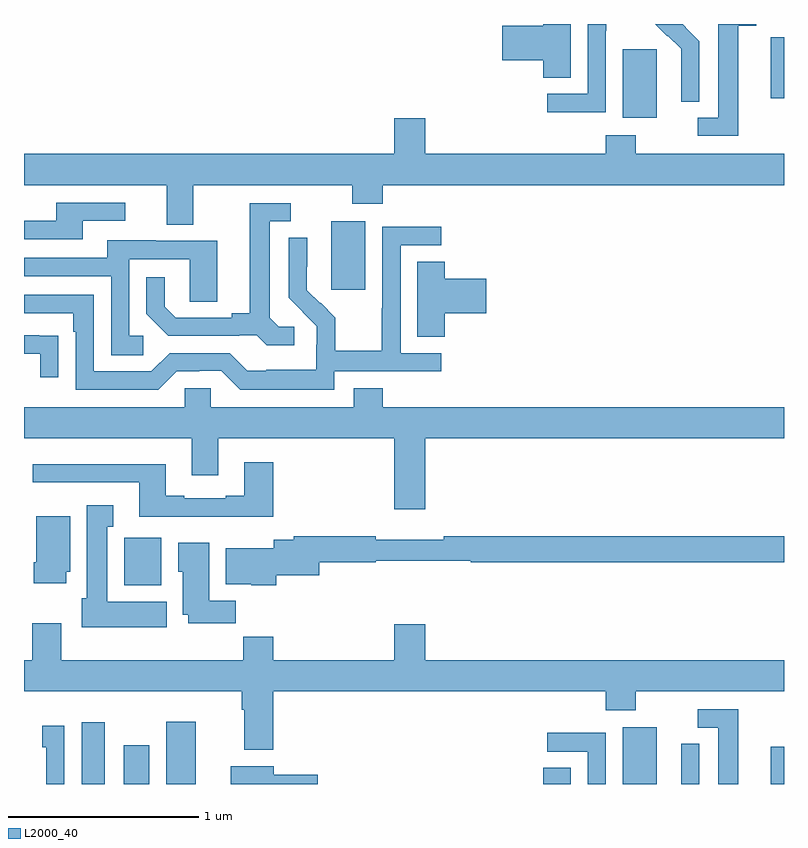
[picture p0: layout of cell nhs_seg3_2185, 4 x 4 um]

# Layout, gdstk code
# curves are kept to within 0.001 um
import gdstk
lib = gdstk.Library(unit=1e-6, precision=1e-09)
def R(c, l, rs):  # rectangles x0, y0, x1, y1
    for r in rs: c.add(gdstk.rectangle(r[:2], r[2:], *l))
def P(c, l, *ps):  # polygons
    for p in ps: c.add(gdstk.Polygon(p, *l))
L2000_40 = (2000, 40)

nhs_seg3_2185 = lib.new_cell('nhs_seg3_2185')
R(nhs_seg3_2185, L2000_40, [(223.304,728.4,223.426,728.725), (223.526,728.4,223.66,728.605), (223.748,728.4,223.903,728.728), (225.734,728.4,225.877,728.486), (226.151,728.4,226.33,728.698), (226.931,728.4,227,728.595), (223.527,729.446,223.723,729.696), (224.618,731.001,224.797,731.362), (226.151,731.906,226.33,732.267), (226.931,732.009,227,732.329)])
P(nhs_seg3_2185, L2000_40, [(226.759,732.392),(226.855,732.392),(226.855,732.4),(226.655,732.4),(226.655,731.907),(226.545,731.907),(226.545,731.811),(226.759,731.811)],
  [(225.877,732.4),(225.734,732.4),(225.734,732.392),(225.516,732.392),(225.516,732.209),(225.734,732.209),(225.734,732.118),(225.877,732.118)],
  [(226.554,732.31),(226.481,732.383),(226.482,732.384),(226.466,732.4),(226.322,732.4),(226.386,732.336),(226.389,732.339),(226.46,732.269),(226.46,732.146),(226.458,732.146),(226.458,731.992),(226.554,731.992)],
  [(226.062,732.364),(226.065,732.364),(226.065,732.4),(225.966,732.4),(225.966,732.033),(225.753,732.033),(225.753,731.935),(226.062,731.935)],
  [(223.891,731.552),(224.728,731.552),(224.728,731.453),(224.888,731.453),(224.888,731.552),(227,731.552),(227,731.716),(226.221,731.716),(226.221,731.815),(226.061,731.815),(226.061,731.716),(225.112,731.716),(225.112,731.905),(224.948,731.905),(224.948,731.716),(223,731.716),(223,731.552),(223.751,731.552),(223.751,731.344),(223.891,731.344)],
  [(223.309,731.364),(223.534,731.364),(223.534,731.46),(223.169,731.46),(223.169,731.364),(223,731.364),(223,731.268),(223.309,731.268)],
  [(224.422,730.806),(224.34,730.806),(224.293,730.853),(224.293,731.361),(224.404,731.361),(224.404,731.457),(224.189,731.457),(224.189,730.877),(224.093,730.877),(224.093,730.854),(223.798,730.854),(223.741,730.911),(223.741,731.068),(223.644,731.068),(223.644,730.874),(223.76,730.758),(224.132,730.758),(224.132,730.761),(224.226,730.761),(224.278,730.709),(224.422,730.709)],
  [(224.634,730.572),(225.196,730.572),(225.196,730.668),(224.982,730.668),(224.982,731.235),(225.196,731.235),(225.196,731.334),(224.886,731.334),(224.886,730.904),(224.884,730.904),(224.884,730.681),(224.639,730.681),(224.639,730.855),(224.562,730.932),(224.559,730.929),(224.489,731),(224.49,731.276),(224.394,731.276),(224.394,730.958),(224.54,730.81),(224.54,730.713),(224.538,730.713),(224.538,730.579),(224.275,730.579),(224.275,730.575),(224.175,730.575),(224.082,730.668),(223.767,730.668),(223.671,730.572),(223.368,730.572),(223.368,730.974),(223,730.974),(223,730.878),(223.259,730.878),(223.259,730.781),(223.272,730.781),(223.272,730.476),(223.707,730.476),(223.803,730.572),(223.922,730.572),(223.922,730.575),(224.037,730.575),(224.137,730.475),(224.634,730.475)],
  [(223.627,730.758),(223.554,730.758),(223.554,731.163),(223.872,731.163),(223.872,730.939),(224.017,730.939),(224.017,731.259),(223.693,731.259),(223.693,731.263),(223.439,731.263),(223.439,731.169),(223,731.169),(223,731.073),(223.458,731.073),(223.458,730.657),(223.627,730.657)],
  [(225.215,730.877),(225.433,730.877),(225.433,731.06),(225.215,731.06),(225.215,731.15),(225.071,731.15),(225.071,730.753),(225.215,730.753)],
  [(223.181,730.76),(223.079,730.76),(223.079,730.761),(223,730.761),(223,730.665),(223.085,730.665),(223.085,730.542),(223.181,730.542)],
  [(225.112,730.22),(227,730.22),(227,730.384),(224.888,730.384),(224.888,730.483),(224.735,730.483),(224.735,730.384),(223.983,730.384),(223.983,730.482),(223.845,730.482),(223.845,730.384),(223,730.384),(223,730.22),(223.883,730.22),(223.883,730.026),(224.023,730.026),(224.023,730.22),(224.948,730.22),(224.948,729.846),(225.112,729.846)],
  [(224.312,730.093),(224.159,730.093),(224.159,729.916),(224.063,729.916),(224.063,729.903),(223.843,729.903),(223.843,729.916),(223.747,729.916),(223.747,730.084),(223.047,730.084),(223.047,729.987),(223.607,729.987),(223.607,729.806),(224.312,729.806)],
  [(223.75,729.358),(223.438,729.358),(223.438,729.755),(223.471,729.755),(223.471,729.868),(223.331,729.868),(223.331,729.378),(223.304,729.378),(223.304,729.224),(223.75,729.224)],
  [(223.222,729.516),(223.243,729.516),(223.243,729.808),(223.064,729.808),(223.064,729.568),(223.052,729.568),(223.052,729.456),(223.222,729.456)],
  [(224.327,729.5),(224.554,729.5),(224.554,729.568),(224.85,729.568),(224.85,729.576),(225.35,729.576),(225.35,729.568),(227,729.568),(227,729.704),(225.208,729.704),(225.208,729.685),(224.852,729.685),(224.852,729.704),(224.419,729.704),(224.419,729.685),(224.315,729.685),(224.315,729.64),(224.063,729.64),(224.063,729.452),(224.196,729.452),(224.196,729.446),(224.327,729.446)],
  [(224.114,729.364),(223.975,729.364),(223.975,729.67),(223.811,729.67),(223.811,729.516),(223.835,729.516),(223.835,729.29),(223.865,729.29),(223.865,729.246),(224.114,729.246)],
  [(224.312,728.888),(226.061,728.888),(226.061,728.789),(226.221,728.789),(226.221,728.888),(227,728.888),(227,729.052),(225.112,729.052),(225.112,729.241),(224.948,729.241),(224.948,729.052),(224.312,729.052),(224.312,729.176),(224.155,729.176),(224.155,729.052),(223.195,729.052),(223.195,729.247),(223.043,729.247),(223.043,729.052),(223,729.052),(223,728.888),(224.147,728.888),(224.147,728.792),(224.159,728.792),(224.159,728.579),(224.312,728.579)],
  [(226.759,728.793),(226.545,728.793),(226.545,728.697),(226.655,728.697),(226.655,728.4),(226.759,728.4)],
  [(223.212,728.707),(223.096,728.707),(223.096,728.594),(223.116,728.594),(223.116,728.4),(223.212,728.4)],
  [(226.062,728.67),(225.753,728.67),(225.753,728.571),(225.966,728.571),(225.966,728.4),(226.062,728.4)],
  [(226.554,728.612),(226.458,728.612),(226.458,728.458),(226.46,728.458),(226.46,728.4),(226.554,728.4)],
  [(224.545,728.448),(224.314,728.448),(224.314,728.494),(224.087,728.494),(224.087,728.4),(224.545,728.4)])

lib.write_gds('nhs_seg3_2185.gds')
